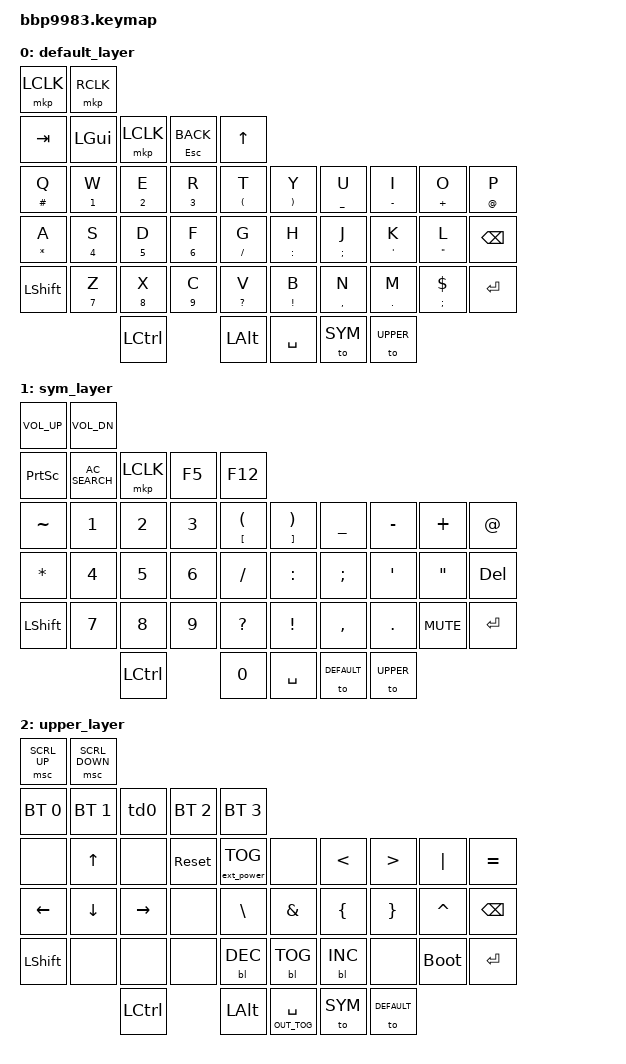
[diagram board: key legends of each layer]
/*
 * Copyright (c) 2023 ZitaoTech
 *
 * SPDX-License-Identifier: MIT
 */

#include <behaviors.dtsi>
#include <dt-bindings/zmk/backlight.h>
#include <dt-bindings/zmk/bt.h>
#include <dt-bindings/zmk/ext_power.h>
#include <dt-bindings/zmk/keys.h>
#include <dt-bindings/zmk/mouse.h>
#include <dt-bindings/zmk/outputs.h>

#define DEFAULT 0
#define SYM 1
#define UPPER 2

&mt {
    bindings = <&kp>, <&kp>;

    flavor = "tap-preferred";
    tapping-term-ms = <400>;
};

/ {
    behaviors {
        td0: tap_dance_0 {
            compatible = "zmk,behavior-tap-dance";
            #binding-cells = <0>;
            tapping-term-ms = <400>;
            bindings = <&mkp LCLK>, <&bt BT_CLR>;
        };
    };

    behaviors {
        hm: homerow_mods {
            compatible = "zmk,behavior-hold-tap";
            #binding-cells = <2>;
            tapping-term-ms = <500>;
            bindings = <&out &kp>;
        };
    };

    behaviors {
        bhm: balanced_homerow_mods {
            compatible = "zmk,behavior-hold-tap";
            #binding-cells = <2>;
            flavor = "balanced";
            tapping-term-ms = <400>;
            bindings = <&ext_power>, <&kp>;
        };

        mtt: mod_tap_tap {
            compatible = "zmk,behavior-hold-tap";
            bindings = <&none>, <&none>;

            #binding-cells = <2>;
            tapping-term-ms = <400>;
            quick-tap-ms = <125>;
            require-prior-idle-ms = <125>;
            flavor = "tap-preferred";
            hold-trigger-key-positions = <7>;
        };
    };

    keymap {
        compatible = "zmk,keymap";

        default_layer {
            bindings = <
&mkp LCLK       &mkp RCLK
&kp TAB         &kp LGUI        &mkp LCLK       &mt ESC K_BACK  &kp UP_ARROW
&mt HASH Q      &mt NUMBER_1 W  &mt NUMBER_2 E  &mt NUMBER_3 R  &mt LEFT_PARENTHESIS T  &mt RIGHT_PARENTHESIS Y    &mt UNDERSCORE U  &mt MINUS I         &mt PLUS O           &mt AT_SIGN P
&mt ASTERISK A  &mt NUMBER_4 S  &mt N5 D        &mt NUMBER_6 F  &mt SLASH G             &mt COLON H                &mt SEMICOLON J   &mt SINGLE_QUOTE K  &mt DOUBLE_QUOTES L  &kp BSPC
&kp LSHFT       &mt N7 Z        &mt N8 X        &mt N9 C        &mt QMARK V             &mt EXCLAMATION B          &mt COMMA N       &mt PERIOD M        &mt SEMI DOLLAR      &kp ENTER
                                &kp LCTRL                       &kp LALT                &kp SPACE                  &to SYM           &to UPPER
            >;
        };

        sym_layer {
            bindings = <
&kp C_VOL_UP  &kp C_VOL_DN
&kp PSCRN     &kp C_AC_SEARCH  &mkp LCLK  &kp F5  &kp F12
&kp TILDE     &kp N1           &kp N2     &kp N3  &mt LBKT LPAR  &mt RBKT RPAR    &kp UNDER    &kp MINUS  &kp PLUS    &kp AT
&kp STAR      &kp N4           &kp N5     &kp N6  &kp SLASH      &kp COLON        &kp SEMI     &kp APOS   &kp DQT     &kp DEL
&kp LSHFT     &kp N7           &kp N8     &kp N9  &kp QMARK      &kp EXCL         &kp COMMA    &kp DOT    &kp C_MUTE  &kp ENTER
                               &kp LCTRL          &kp N0         &kp SPACE        &to DEFAULT  &to UPPER
            >;
        };

        upper_layer {
            bindings = <
&msc SCRL_UP  &msc SCRL_DOWN
&bt BT_SEL 0  &bt BT_SEL 1    &td0       &bt BT_SEL 2  &bt BT_SEL 3
&none         &kp UP          &none      &sys_reset    &ext_power EP_TOG  &none                &kp LT      &kp GT       &kp PIPE     &kp EQUAL
&kp LEFT      &kp DOWN        &kp RIGHT  &none         &kp BSLH           &kp AMPS             &kp LBRC    &kp RBRC     &kp CARET    &kp BSPC
&kp LSHFT     &none           &none      &none         &bl BL_DEC         &bl BL_TOG           &bl BL_INC  &none        &bootloader  &kp ENTER
                              &kp LCTRL                &kp LALT           &hm OUT_TOG SPACE    &to SYM     &to DEFAULT
            >;
        };
    };
};
